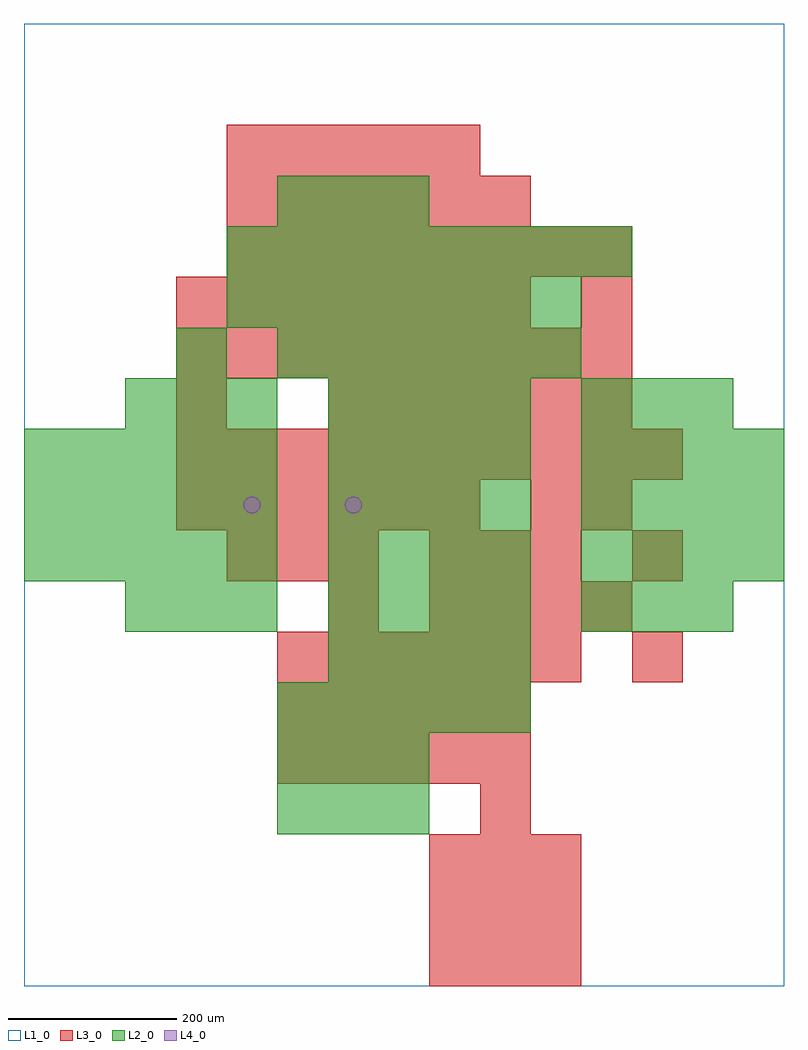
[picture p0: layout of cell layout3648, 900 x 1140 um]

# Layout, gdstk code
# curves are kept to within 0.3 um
import gdstk
lib = gdstk.Library(unit=1e-6, precision=1e-09)
def R(c, l, rs):  # rectangles x0, y0, x1, y1
    for r in rs: c.add(gdstk.rectangle(r[:2], r[2:], *l))
def A(c, l, x, y, w, h, nx, ny, dx, dy):  # array of equal rectangles
    R(c, l, [(x+i*dx, y+j*dy, x+i*dx+w, y+j*dy+h) for i in range(nx) for j in range(ny)])
def P(c, l, *ps):  # polygons
    for p in ps: c.add(gdstk.Polygon(p, *l))
L1_0 = (1, 0)
L2_0 = (2, 0)
L3_0 = (3, 0)
L4_0 = (4, 0)

layout3648 = lib.new_cell('layout3648')
R(layout3648, L1_0, [(0,0,900,1140)])
A(layout3648, L2_0, 300, 180, 60, 60, 3, 2, 60, 60)
A(layout3648, L2_0, 300, 300, 60, 60, 5, 1, 60, 0)
A(layout3648, L2_0, 360, 360, 60, 60, 4, 6, 60, 60)
A(layout3648, L2_0, 120, 420, 60, 60, 3, 2, 60, 240)
A(layout3648, L2_0, 660, 420, 60, 60, 3, 2, 60, 240)
A(layout3648, L2_0, 0, 480, 60, 60, 5, 3, 60, 60)
A(layout3648, L2_0, 660, 480, 60, 60, 4, 3, 60, 60)
A(layout3648, L2_0, 300, 720, 60, 60, 6, 1, 60, 0)
A(layout3648, L2_0, 240, 780, 60, 60, 7, 1, 60, 0)
A(layout3648, L2_0, 240, 840, 60, 60, 8, 1, 60, 0)
A(layout3648, L2_0, 300, 900, 60, 60, 3, 1, 60, 0)
R(layout3648, L2_0, [(180,720,240,780)])
A(layout3648, L3_0, 480, 0, 60, 60, 3, 3, 60, 60)
A(layout3648, L3_0, 300, 240, 60, 60, 5, 2, 60, 60)
A(layout3648, L3_0, 300, 360, 60, 60, 6, 1, 60, 0)
A(layout3648, L3_0, 480, 420, 60, 60, 4, 1, 60, 0)
A(layout3648, L3_0, 240, 480, 60, 60, 3, 1, 60, 0)
A(layout3648, L3_0, 480, 480, 60, 60, 3, 1, 60, 0)
A(layout3648, L3_0, 180, 540, 60, 60, 6, 1, 60, 0)
A(layout3648, L3_0, 180, 600, 60, 60, 10, 1, 60, 0)
A(layout3648, L3_0, 360, 660, 60, 60, 6, 1, 60, 0)
A(layout3648, L3_0, 180, 720, 60, 60, 9, 1, 60, 0)
A(layout3648, L3_0, 180, 780, 60, 60, 7, 1, 60, 0)
A(layout3648, L3_0, 240, 840, 60, 60, 8, 1, 60, 0)
A(layout3648, L3_0, 240, 900, 60, 60, 6, 1, 60, 0)
A(layout3648, L3_0, 240, 960, 60, 60, 5, 1, 60, 0)
R(layout3648, L3_0, [(540,180,600,240), (720,360,780,420), (360,420,420,480), (720,480,780,540), (600,540,660,600), (660,540,720,600), (180,660,240,720), (660,780,720,840)])
P(layout3648, L4_0, [(280,570),(279.239,573.827),(277.071,577.071),(273.827,579.239),(270,580),(266.173,579.239),(262.929,577.071),(260.761,573.827),(260,570),(260.761,566.173),(262.929,562.929),(266.173,560.761),(270,560),(273.827,560.761),(277.071,562.929),(279.239,566.173)],
  [(400,570),(399.239,573.827),(397.071,577.071),(393.827,579.239),(390,580),(386.173,579.239),(382.929,577.071),(380.761,573.827),(380,570),(380.761,566.173),(382.929,562.929),(386.173,560.761),(390,560),(393.827,560.761),(397.071,562.929),(399.239,566.173)])

lib.write_gds('layout3648.gds')
